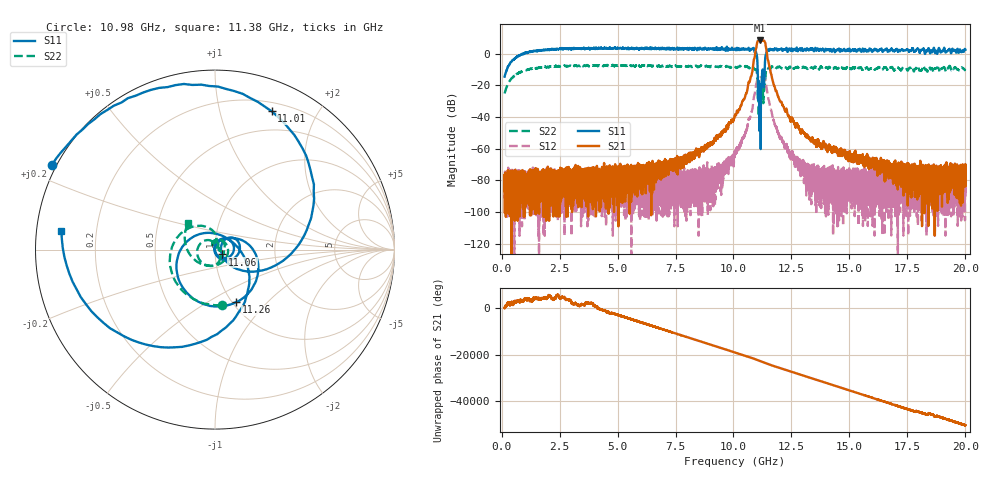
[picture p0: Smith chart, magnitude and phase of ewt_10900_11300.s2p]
!Created with skrf (http://scikit-rf.org).
# GHz S RI R 50.0
!freq ReS11 ImS11 ReS21 ImS21 ReS12 ImS12 ReS22 ImS22
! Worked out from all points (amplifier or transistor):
!   20013 points, 130 MHz to 20 GHz, reference 50 ohm
!   highest |S21| = 8.4 dB at 11.14 GHz (marker M1)
!   |S21| within 3 dB of that: 11 GHz to 11.39 GHz (385.8 MHz wide, 3.45 % of centre)
!   unconditionally stable (mu >= 1): start of sweep to 894.4 MHz; 911.6 MHz to 961.4 MHz; 11.02 GHz to 11.37 GHz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
!   at 3.465 GHz: K = -85312362.54, MSG = 7.8 dB, |S12| = -90.0 dB
!   at 10.14 GHz: K = -35137.61, MSG = 11.8 dB, |S12| = -60.5 dB
!   at 20 GHz: K = -102715239.27, MSG = 6.5 dB, |S12| = -91.1 dB
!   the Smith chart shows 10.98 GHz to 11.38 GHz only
!   S11 on the Smith chart (normalised r, x): 10.98 GHz: -0.01, +0.25; 11.01 GHz: 0.29, +1.45; 11.06 GHz: 1.08, -0.06; 11.26 GHz: 1.04, -0.68; 11.38 GHz: 0.07, +0.06
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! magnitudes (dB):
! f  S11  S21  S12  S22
! 130 MHz  -14.5  -100.1  -81.0  -25.2
! 465 MHz  -4.0  -94.1  -86.5  -15.2
! 975 MHz  0.3  -78.8  -77.6  -10.6
! 3.442 GHz  3.1  -78.1  -82.1  -7.2
! 6.754 GHz  3.3  -72.5  -78.4  -7.9
! 9.072 GHz  2.8  -57.3  -82.1  -7.9
! 10.06 GHz  3.2  -38.9  -62.9  -8.0
! 10.53 GHz  3.1  -25.6  -49.7  -7.8
! 10.89 GHz  2.2  -3.3  -26.7  -9.6
! 10.98 GHz  0.2  3.7  -19.1  -10.1
! 11.01 GHz  -1.6  6.6  -17.2  -12.7
! 11.06 GHz  -26.5  8.2  -15.1  -27.6
! 11.14 GHz  -19.5  8.4  -14.9  -28.2
! 11.26 GHz  -10.0  8.2  -15.2  -20.7
! 11.38 GHz  -1.3  5.8  -17.4  -13.5
! 11.51 GHz  2.6  -5.2  -28.9  -9.0
! 12.03 GHz  2.9  -30.5  -53.2  -8.7
! 12.87 GHz  3.2  -47.8  -71.8  -9.2
! 13.38 GHz  2.7  -54.3  -76.2  -8.7
! 16.69 GHz  2.2  -70.4  -86.2  -10.3
! 17.93 GHz  3.2  -81.5  -79.2  -7.8
! 20 GHz  2.5  -78.1  -91.1  -10.7
